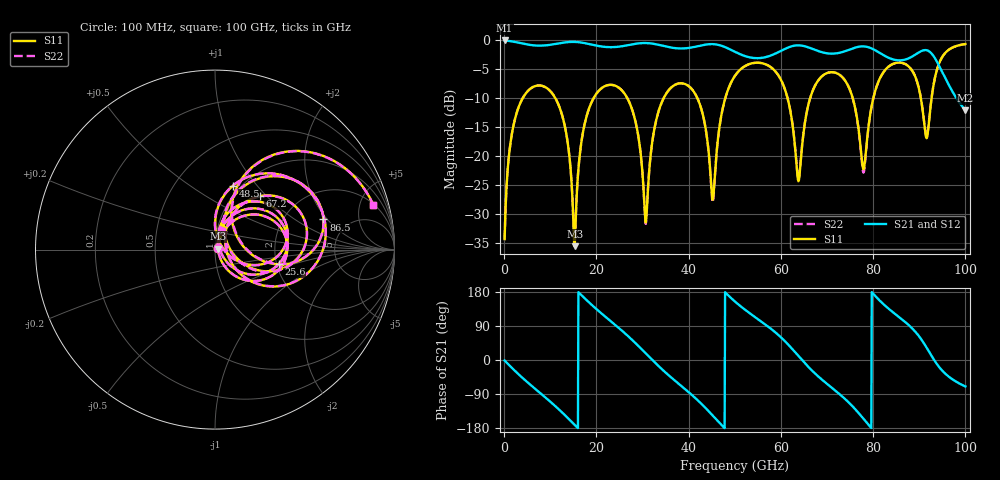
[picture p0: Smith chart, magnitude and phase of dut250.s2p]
! Touchstone file exported from HFSS 2026.1.0
!  File:  C:/ffzhzh/LocalFiles/Ansys_Project_Files/temp_train_TSV_RDL_250_1783670679_33328.aedt
!  Generated:  04:13:41 PM Jul 10, 2026
!  Design:  TSV_RDL
!  Project:  temp_train_TSV_RDL_250_1783670679_33328
! Variables:
!  h_bsmrdl = 4.91um
!  h_ox = 20um
!  h_rdl = 5um
!  h_sub = 83.11um
!  h_tmrdl = 2.81um
!  h_tsv = 83.11um
!  h_via = 3um
!  l_bsmrdl = 514.35um
!  l_sub = 3662.09um
!  l_tmrdl = 396.82um
!  m_sub = 200um
!  pitch = 42.03um
!  r_tsv = 9.44um
!  s_tmrdl = 10um
!  w_bsmrdl = 23.43um
!  w_sub = 500um
!  w_tmrdl = 20.49um
!  x_tsv_center1 = 407.065um
!  x_tsv_center2 = 944.845um
!  x_tsv_center3 = 1362.155um
!  x_tsv_center4 = 1899.935um
!  x_tsv_center5 = 2317.245um
!  x_tsv_center6 = 2855.025um
# GHz S MA R 50.000000
! Terminal data exported
! Port[1] = TM_RDL1_1_T1
! Port[2] = TM_RDL5_1_T1
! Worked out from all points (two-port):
!   1000 points, 100 MHz to 100 GHz, reference 50 ohm
!   highest |S21| = -0.14 dB at 100 MHz (marker M1); lowest = -12.1 dB at 100 GHz (marker M2)
!   |S21| within 3 dB of the highest: start of sweep to 53.92 GHz; 55.78 GHz to 83.41 GHz (27.63 GHz wide, 39.7 % of centre) (the widest 2 of 3)
!   lowest |S11| = -35.5 dB at 15.3 GHz (marker M3), VSWR 1.03, Z = 51.6 + j0.623 ohm
!   |S11| at or under -10 dB: 11.05 GHz to 19.44 GHz (8.386 GHz wide, 55 % of centre); 26.66 GHz to 34.62 GHz (7.96 GHz wide, 26 % of centre); 41.86 GHz to 47.96 GHz (6.107 GHz wide, 13.6 % of centre) (the widest 3 of 7)
!   |S22| runs from -35.1 to -0.8 dB; largest |S21 - S12| = 1.3e-13
!   S11 on the Smith chart (normalised r, x): 100 MHz: 1.03, +0.02; 25.6 GHz: 2.05, -0.38; 48.5 GHz: 0.92, +0.76; 67.2 GHz: 1.30, +0.91; 86.5 GHz: 3.28, +1.82; 100 GHz: 2.08, +6.52
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0.1  0.01928 32.4  0.9839 -1.3  0.9839 -1.3  0.01928 32.4
! Gamma 0 0 0 0
! Port Impedance 50 0 50 0
2.4  0.2116 54.5  0.9543 -29.3  0.9543 -29.3  0.2116 54.5
7.5  0.4035 3.4  0.888 -84.0  0.888 -84.0  0.4036 3.4
12.7  0.2146 -48.7  0.9406 -139.9  0.9406 -139.9  0.2146 -48.6
15.3  0.01676 21.1  0.9558 -171.2  0.9558 -171.2  0.01748 20.3
16.8  0.1362 72.0  0.9431 170.6  0.9431 170.6  0.1362 71.6
25.6  0.3634 -12.8  0.8782 76.8  0.8782 76.8  0.3634 -13.0
30.7  0.02669 15.8  0.9347 17.5  0.9347 17.5  0.02606 15.6
33.4  0.2363 68.0  0.9037 -15.1  0.9037 -15.1  0.2362 68.0
41.7  0.3257 -10.2  0.8731 -103.2  0.8731 -103.2  0.3257 -10.5
45.2  0.04196 28.1  0.9151 -146.3  0.9151 -146.3  0.03978 27.5
48.5  0.3678 74.4  0.8417 171.6  0.8417 171.6  0.3674 74.8
50.1  0.4927 59.0  0.7837 153.6  0.7837 153.6  0.4924 59.2
59.9  0.4603 -24.3  0.7963 61.1  0.7963 61.1  0.4605 -24.1
63.8  0.06055 9.0  0.8933 10.7  0.8933 10.7  0.06318 9.0
66.7  0.3466 54.6  0.8369 -27.4  0.8369 -27.4  0.3469 54.1
67.2  0.3873 50.2  0.8222 -33.3  0.8222 -33.3  0.3876 49.7
77.9  0.07673 22.5  0.8754 -155.0  0.8754 -155.0  0.07194 22.3
83.4  0.5886 40.9  0.6969 134.9  0.6969 134.9  0.5884 41.3
86.5  0.6273 15.5  0.6677 104.7  0.6677 104.7  0.6275 15.8
92.4  0.2553 68.9  0.7788 16.2  0.7788 16.2  0.2568 68.2
100  0.9166 15.9  0.2469 -69.7  0.2469 -69.7  0.9164 15.8
